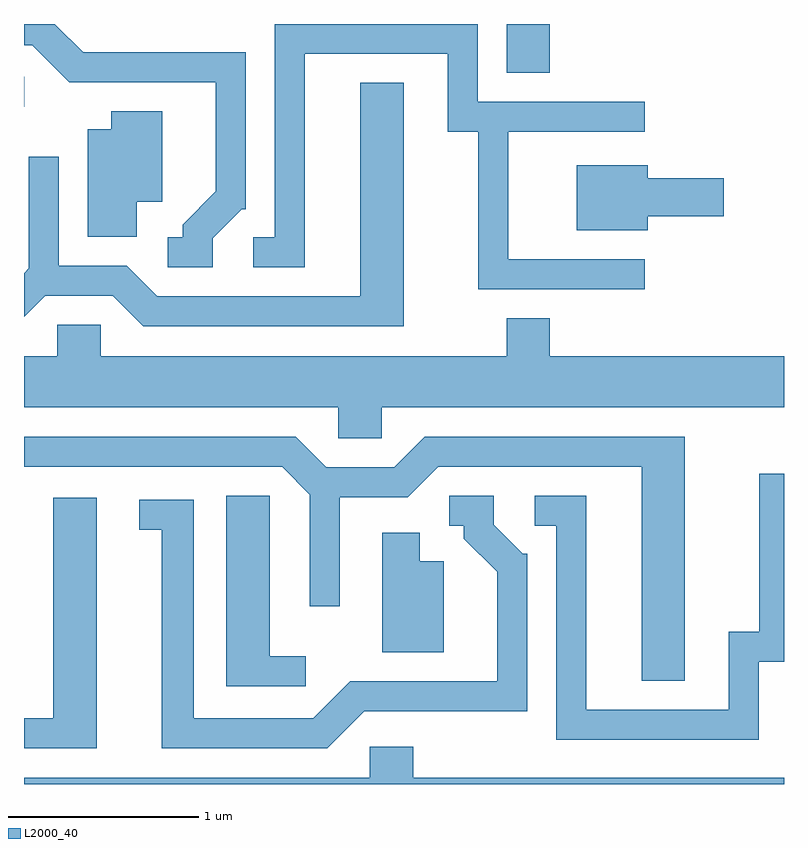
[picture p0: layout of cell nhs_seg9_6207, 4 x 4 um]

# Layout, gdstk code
import gdstk
lib = gdstk.Library(unit=1e-6, precision=1e-09)
def R(c, l, rs):  # rectangles x0, y0, x1, y1
    for r in rs: c.add(gdstk.rectangle(r[:2], r[2:], *l))
def P(c, l, *ps):  # polygons
    for p in ps: c.add(gdstk.Polygon(p, *l))
L2000_40 = (2000, 40)

nhs_seg9_6207 = lib.new_cell('nhs_seg9_6207')
R(nhs_seg9_6207, L2000_40, [(367.611,2059.996,367.613,2060.154), (370.151,2060.176,370.379,2060.432)])
P(nhs_seg9_6207, L2000_40, [(370.878,2059.194),(370.159,2059.194),(370.159,2059.866),(370.878,2059.866),(370.878,2060.024),(369.999,2060.024),(369.999,2060.432),(368.931,2060.432),(368.931,2059.309),(368.818,2059.309),(368.818,2059.151),(369.089,2059.151),(369.089,2060.276),(369.841,2060.276),(369.841,2059.866),(370.001,2059.866),(370.001,2059.036),(370.878,2059.036)],
  [(368.604,2059.304),(368.757,2059.456),(368.779,2059.456),(368.779,2060.284),(367.922,2060.284),(367.774,2060.432),(367.611,2060.432),(367.611,2060.321),(367.654,2060.321),(367.849,2060.126),(368.621,2060.126),(368.621,2059.552),(368.446,2059.376),(368.446,2059.309),(368.368,2059.309),(368.368,2059.151),(368.604,2059.151)],
  [(369.609,2060.124),(369.381,2060.124),(369.381,2058.999),(368.312,2058.999),(368.152,2059.159),(367.794,2059.159),(367.794,2059.733),(367.636,2059.733),(367.636,2059.146),(367.611,2059.121),(367.611,2058.89),(367.722,2059.001),(368.079,2059.001),(368.239,2058.841),(369.609,2058.841)],
  [(368.204,2059.496),(368.339,2059.496),(368.339,2059.974),(368.071,2059.974),(368.071,2059.879),(367.946,2059.879),(367.946,2059.311),(368.204,2059.311)],
  [(370.894,2059.421),(371.294,2059.421),(371.294,2059.619),(370.894,2059.619),(370.894,2059.689),(370.521,2059.689),(370.521,2059.346),(370.894,2059.346)],
  [(369.494,2058.416),(371.611,2058.416),(371.611,2058.684),(370.379,2058.684),(370.379,2058.884),(370.151,2058.884),(370.151,2058.684),(368.014,2058.684),(368.014,2058.849),(367.786,2058.849),(367.786,2058.684),(367.611,2058.684),(367.611,2058.416),(369.266,2058.416),(369.266,2058.251),(369.494,2058.251)],
  [(371.089,2058.259),(369.719,2058.259),(369.559,2058.099),(369.202,2058.099),(369.042,2058.259),(367.611,2058.259),(367.611,2058.101),(368.969,2058.101),(369.116,2057.954),(369.116,2057.367),(369.274,2057.367),(369.274,2057.941),(369.632,2057.941),(369.792,2058.101),(370.861,2058.101),(370.861,2056.976),(371.089,2056.976)],
  [(371.479,2057.076),(371.611,2057.076),(371.611,2058.064),(371.481,2058.064),(371.481,2057.234),(371.321,2057.234),(371.321,2056.824),(370.569,2056.824),(370.569,2057.949),(370.298,2057.949),(370.298,2057.791),(370.411,2057.791),(370.411,2056.666),(371.479,2056.666)],
  [(369.093,2057.104),(368.904,2057.104),(368.904,2057.949),(368.676,2057.949),(368.676,2056.946),(369.093,2056.946)],
  [(369.402,2056.816),(370.259,2056.816),(370.259,2057.644),(370.237,2057.644),(370.084,2057.797),(370.084,2057.949),(369.848,2057.949),(369.848,2057.791),(369.926,2057.791),(369.926,2057.724),(370.101,2057.548),(370.101,2056.974),(369.329,2056.974),(369.134,2056.779),(368.504,2056.779),(368.504,2057.929),(368.218,2057.929),(368.218,2057.771),(368.336,2057.771),(368.336,2056.621),(369.207,2056.621)],
  [(367.994,2057.939),(367.766,2057.939),(367.766,2056.779),(367.611,2056.779),(367.611,2056.621),(367.994,2056.621)],
  [(369.819,2057.604),(369.694,2057.604),(369.694,2057.754),(369.496,2057.754),(369.496,2057.126),(369.819,2057.126)],
  [(371.611,2056.464),(369.659,2056.464),(369.659,2056.629),(369.431,2056.629),(369.431,2056.464),(367.611,2056.464),(367.611,2056.432),(371.611,2056.432)])

lib.write_gds('nhs_seg9_6207.gds')
